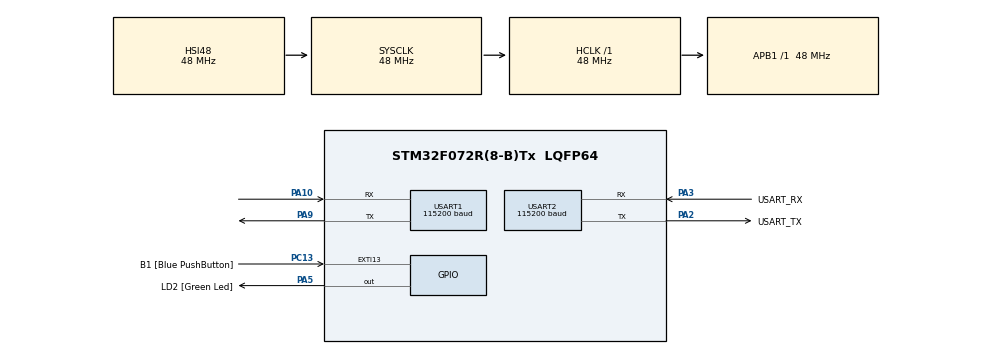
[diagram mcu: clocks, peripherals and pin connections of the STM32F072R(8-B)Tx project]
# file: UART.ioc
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Mcu.Family=STM32F0
Mcu.Name=STM32F072R(8-B)Tx
Mcu.Package=LQFP64
NVIC.USART1_IRQn=true\:0\:0\:false\:false\:true\:true\:true\:true
NVIC.USART2_IRQn=true\:0\:0\:false\:false\:true\:true\:true\:true
PA10.Mode=Asynchronous
PA10.Signal=USART1_RX
PA13.GPIO_Label=TMS
PA13.Mode=Serial_Wire
PA13.Signal=SYS_SWDIO
PA14.GPIO_Label=TCK
PA14.Mode=Serial_Wire
PA14.Signal=SYS_SWCLK
PA2.GPIO_Label=USART_TX
PA2.GPIO_Mode=GPIO_MODE_AF_PP
PA2.GPIO_PuPd=GPIO_NOPULL
PA2.GPIO_Speed=GPIO_SPEED_FREQ_LOW
PA2.Mode=Asynchronous
PA2.Signal=USART2_TX
PA3.GPIO_Label=USART_RX
PA3.GPIO_Mode=GPIO_MODE_AF_PP
PA3.GPIO_PuPd=GPIO_NOPULL
PA3.GPIO_Speed=GPIO_SPEED_FREQ_LOW
PA3.Mode=Asynchronous
PA3.Signal=USART2_RX
PA5.GPIO_Label=LD2 [Green Led]
PA5.GPIO_Mode=GPIO_MODE_OUTPUT_PP
PA5.GPIO_PuPd=GPIO_NOPULL
PA5.GPIO_Speed=GPIO_SPEED_FREQ_LOW
PA5.Signal=GPIO_Output
PA9.Mode=Asynchronous
PA9.Signal=USART1_TX
PC13.GPIO_Label=B1 [Blue PushButton]
PC13.GPIO_ModeDefaultEXTI=GPIO_MODE_IT_FALLING
PC13.Signal=GPXTI13
PC14-OSC32_IN.Signal=RCC_OSC32_IN
PC15-OSC32_OUT.Signal=RCC_OSC32_OUT
PF0-OSC_IN.Signal=RCC_OSC_IN
PF1-OSC_OUT.Signal=RCC_OSC_OUT
ProjectManager.HeapSize=0x200
ProjectManager.StackSize=0x400
ProjectManager.TargetToolchain=STM32CubeIDE
RCC.AHBFreq_Value=48000000
RCC.APB1Freq_Value=48000000
RCC.APB1TimFreq_Value=48000000
RCC.FLatency-AdvancedSettings=FLASH_LATENCY_1
RCC.HCLKFreq_Value=48000000
RCC.PLLDivider=RCC_PREDIV_DIV2
RCC.PLLMUL=RCC_PLL_MUL12
RCC.PREFETCH_ENABLE-AdvancedSettings=1
RCC.SYSCLKFreq_VALUE=48000000
RCC.SYSCLKSource=RCC_SYSCLKSOURCE_HSI48
USART1.BaudRate=115200
USART1.VirtualMode-Asynchronous=VM_ASYNC
USART2.BaudRate=115200
USART2.VirtualMode=VM_ASYNC
USART2.VirtualMode-Asynchronous=VM_ASYNC
board=NUCLEO-F072RB

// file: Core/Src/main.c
/* USER CODE BEGIN Header */
/**
  ******************************************************************************
  * @file           : main.c
  * @brief          : Main program body
  ******************************************************************************
  * @attention
  *
  * Copyright (c) 2024 STMicroelectronics.
  * All rights reserved.
  *
  * This software is licensed under terms that can be found in the LICENSE file
  * in the root directory of this software component.
  * If no LICENSE file comes with this software, it is provided AS-IS.
  *
  ******************************************************************************
  */
/* USER CODE END Header */
#include "main.h"
#include <string.h>

UART_HandleTypeDef huart1;
UART_HandleTypeDef huart2;

/* USER CODE BEGIN PV */
uint8_t rx_data[4]={0};
uint8_t rx_buffer[10000]={0};
uint8_t rx_buffer_idx=0;
uint32_t rxCount=0;
uint8_t receiving=0;

/* USER CODE END PV */

void SystemClock_Config(void);
static void MX_GPIO_Init(void);
static void MX_USART2_UART_Init(void);
static void MX_USART1_UART_Init(void);

int main(void)
{

  /* MCU Configuration--------------------------------------------------------*/

  /* Reset of all peripherals, Initializes the Flash interface and the Systick. */
  HAL_Init();

  /* Configure the system clock */
  SystemClock_Config();

  /* Initialize all configured peripherals */
  MX_GPIO_Init();
  MX_USART2_UART_Init();
  MX_USART1_UART_Init();
  /* USER CODE BEGIN 2 */
  //HAL_UART_Receive_IT(&huart2, rx_data, sizeof(rx_data));
  HAL_UART_Receive_IT(&huart1, rx_data, sizeof(rx_data));

  /* USER CODE END 2 */

  /* Infinite loop */
  while (1)
  {

    /* USER CODE BEGIN 3 */
	  if (receiving==0 && rx_buffer_idx>20){
		  HAL_UART_Transmit(&huart2, rx_buffer, rx_buffer_idx-1, 50);
		  rx_buffer_idx=0;

	  }
	  HAL_Delay(1);
  }
  /* USER CODE END 3 */
}

void SystemClock_Config(void)
{
  RCC_OscInitTypeDef RCC_OscInitStruct = {0};
  RCC_ClkInitTypeDef RCC_ClkInitStruct = {0};
  RCC_PeriphCLKInitTypeDef PeriphClkInit = {0};

  /** Initializes the RCC Oscillators according to the specified parameters
  * in the RCC_OscInitTypeDef structure.
  */
  RCC_OscInitStruct.OscillatorType = RCC_OSCILLATORTYPE_HSI48;
  RCC_OscInitStruct.HSI48State = RCC_HSI48_ON;
  RCC_OscInitStruct.PLL.PLLState = RCC_PLL_NONE;
  if (HAL_RCC_OscConfig(&RCC_OscInitStruct) != HAL_OK)
  {
    Error_Handler();
  }

  /** Initializes the CPU, AHB and APB buses clocks
  */
  RCC_ClkInitStruct.ClockType = RCC_CLOCKTYPE_HCLK|RCC_CLOCKTYPE_SYSCLK
                              |RCC_CLOCKTYPE_PCLK1;
  RCC_ClkInitStruct.SYSCLKSource = RCC_SYSCLKSOURCE_HSI48;
  RCC_ClkInitStruct.AHBCLKDivider = RCC_SYSCLK_DIV1;
  RCC_ClkInitStruct.APB1CLKDivider = RCC_HCLK_DIV1;

  if (HAL_RCC_ClockConfig(&RCC_ClkInitStruct, FLASH_LATENCY_1) != HAL_OK)
  {
    Error_Handler();
  }
  PeriphClkInit.PeriphClockSelection = RCC_PERIPHCLK_USART1|RCC_PERIPHCLK_USART2;
  PeriphClkInit.Usart1ClockSelection = RCC_USART1CLKSOURCE_PCLK1;
  PeriphClkInit.Usart2ClockSelection = RCC_USART2CLKSOURCE_PCLK1;
  if (HAL_RCCEx_PeriphCLKConfig(&PeriphClkInit) != HAL_OK)
  {
    Error_Handler();
  }
}

static void MX_USART1_UART_Init(void)
{

  huart1.Instance = USART1;
  huart1.Init.BaudRate = 115200;
  huart1.Init.WordLength = UART_WORDLENGTH_8B;
  huart1.Init.StopBits = UART_STOPBITS_1;
  huart1.Init.Parity = UART_PARITY_NONE;
  huart1.Init.Mode = UART_MODE_TX_RX;
  huart1.Init.HwFlowCtl = UART_HWCONTROL_NONE;
  huart1.Init.OverSampling = UART_OVERSAMPLING_16;
  huart1.Init.OneBitSampling = UART_ONE_BIT_SAMPLE_DISABLE;
  huart1.AdvancedInit.AdvFeatureInit = UART_ADVFEATURE_NO_INIT;
  if (HAL_UART_Init(&huart1) != HAL_OK)
  {
    Error_Handler();
  }

}

static void MX_USART2_UART_Init(void)
{

  huart2.Instance = USART2;
  huart2.Init.BaudRate = 115200;
  huart2.Init.WordLength = UART_WORDLENGTH_8B;
  huart2.Init.StopBits = UART_STOPBITS_1;
  huart2.Init.Parity = UART_PARITY_NONE;
  huart2.Init.Mode = UART_MODE_TX_RX;
  huart2.Init.HwFlowCtl = UART_HWCONTROL_NONE;
  huart2.Init.OverSampling = UART_OVERSAMPLING_16;
  huart2.Init.OneBitSampling = UART_ONE_BIT_SAMPLE_DISABLE;
  huart2.AdvancedInit.AdvFeatureInit = UART_ADVFEATURE_NO_INIT;
  if (HAL_UART_Init(&huart2) != HAL_OK)
  {
    Error_Handler();
  }

}

static void MX_GPIO_Init(void)
{
  GPIO_InitTypeDef GPIO_InitStruct = {0};

  /* GPIO Ports Clock Enable */
  __HAL_RCC_GPIOC_CLK_ENABLE();
  __HAL_RCC_GPIOF_CLK_ENABLE();
  __HAL_RCC_GPIOA_CLK_ENABLE();

  /*Configure GPIO pin Output Level */
  HAL_GPIO_WritePin(LD2_GPIO_Port, LD2_Pin, GPIO_PIN_RESET);

  /*Configure GPIO pin : B1_Pin */
  GPIO_InitStruct.Pin = B1_Pin;
  GPIO_InitStruct.Mode = GPIO_MODE_IT_FALLING;
  GPIO_InitStruct.Pull = GPIO_NOPULL;
  HAL_GPIO_Init(B1_GPIO_Port, &GPIO_InitStruct);

  /*Configure GPIO pin : LD2_Pin */
  GPIO_InitStruct.Pin = LD2_Pin;
  GPIO_InitStruct.Mode = GPIO_MODE_OUTPUT_PP;
  GPIO_InitStruct.Pull = GPIO_NOPULL;
  GPIO_InitStruct.Speed = GPIO_SPEED_FREQ_LOW;
  HAL_GPIO_Init(LD2_GPIO_Port, &GPIO_InitStruct);

}

/* USER CODE BEGIN 4 */
void HAL_UART_RxCpltCallback(UART_HandleTypeDef *huart)
{
  /* Prevent unused argument(s) compilation warning */
  UNUSED(huart);

  if (huart->Instance == USART1) {
	  receiving=1;

  /* NOTE : This function should not be modified, when the callback is needed,
            the HAL_UART_RxCpltCallback can be implemented in the user file.
   */

	  for(int i=0;i<sizeof(rx_data);i++)
	  {
		  rx_buffer[rx_buffer_idx++]= rx_data[i];
	  }

	  rxCount++;
	  if (rxCount>100)
	  {
		  rxCount=0;
		  //HAL_UART_Transmit(&huart2, rx_data, 2, 10);
	  }

  	  HAL_UART_Receive_IT(&huart1, rx_data, sizeof(rx_data));
  	receiving=0;
  }
}

/* USER CODE END 4 */

void Error_Handler(void)
{
  __disable_irq();
  while (1)
  {
  }
}
